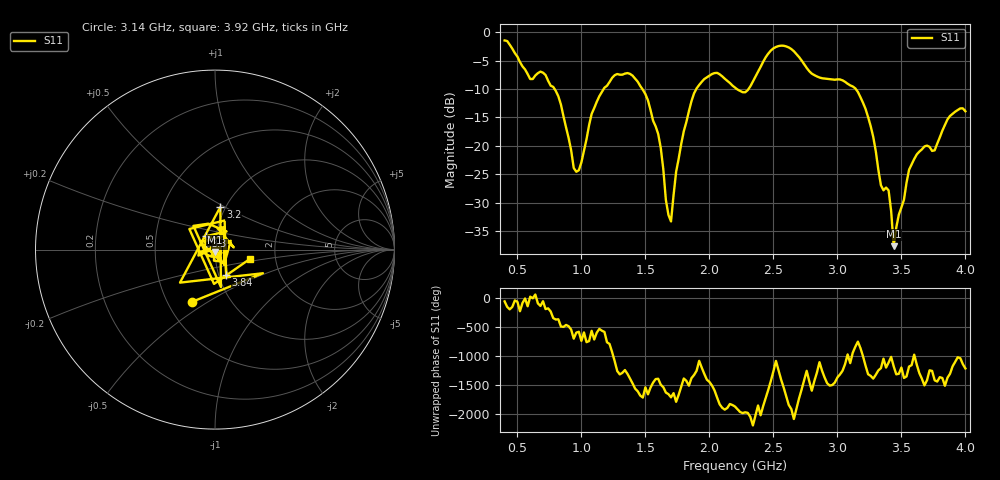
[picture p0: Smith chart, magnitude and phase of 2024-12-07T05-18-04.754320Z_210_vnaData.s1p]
!Created with skrf (http://scikit-rf.org).
# Hz S RI R 50.0
!freq ReS11 ImS11
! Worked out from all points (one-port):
!   181 points, 400 MHz to 4 GHz, reference 50 ohm
!   lowest |S11| = -37.6 dB at 3.44 GHz (marker M1), VSWR 1.03, Z = 49.9 - j1.32 ohm
!   |S11| at or under -10 dB: 790.4 MHz to 1.174 GHz (383.4 MHz wide, 39 % of centre); 1.476 GHz to 1.898 GHz (421.7 MHz wide, 25 % of centre); 3.143 GHz to end of sweep (the widest 3 of 4)
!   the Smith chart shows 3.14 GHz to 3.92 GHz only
!   S11 on the Smith chart (normalised r, x): 3.14 GHz: 0.66, -0.43; 3.2 GHz: 0.94, +0.48; 3.3 GHz: 0.90, +0.14; 3.84 GHz: 1.09, -0.31; 3.92 GHz: 1.47, -0.16
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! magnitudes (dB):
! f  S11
! 400 MHz  -1.5
! 600 MHz  -8.2
! 720 MHz  -7.5
! 860 MHz  -14.8
! 940 MHz  -23.9
! 980 MHz  -24.3
! 1.12 GHz  -12.2
! 1.3 GHz  -7.5
! 1.52 GHz  -12.0
! 1.6 GHz  -17.9
! 1.7 GHz  -33.3
! 1.76 GHz  -22.2
! 1.92 GHz  -9.3
! 2.2 GHz  -9.8
! 2.3 GHz  -10.2
! 2.5 GHz  -2.9
! 2.66 GHz  -3.4
! 3.1 GHz  -9.4
! 3.14 GHz  -9.9
! 3.2 GHz  -12.4
! 3.3 GHz  -20.9
! 3.34 GHz  -26.9
! 3.4 GHz  -27.8
! 3.44 GHz  -37.6
! 3.56 GHz  -24.2
! 3.84 GHz  -16.3
! 3.92 GHz  -14.0
! 4 GHz  -13.9
